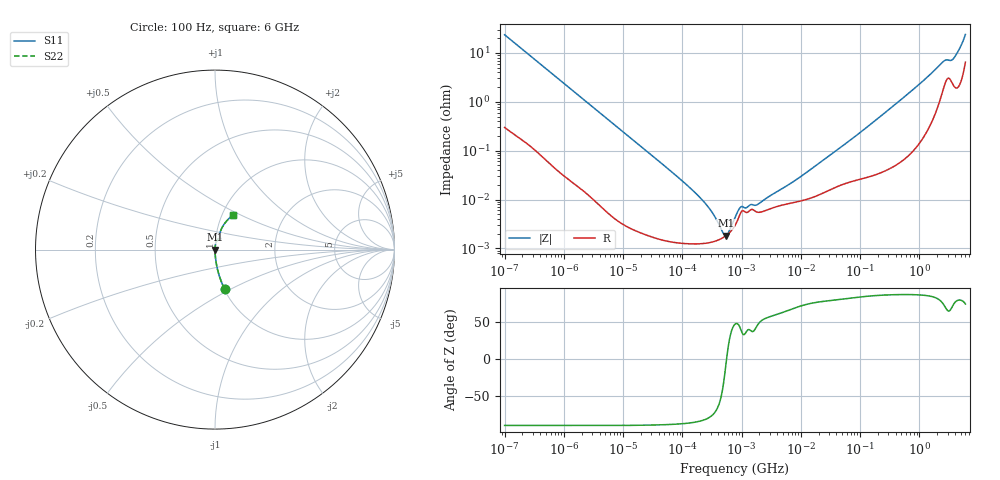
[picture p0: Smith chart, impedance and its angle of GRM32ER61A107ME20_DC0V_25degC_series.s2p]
!Murata Part Number: GRM32ER61A107ME20
!These Parameters are Measured in Series Mode Connection
!  o--ll--o
!Port1  Port2
!  o------o
!Operation Temp=25[degC], DC Bias Voltage=0[V]
!Freq. Start=100[Hz] Stop=6[GHz], 401[Steps]
!Data Generated on Jan 10, 2017
# Hz S RI R 50
!Freq.(Hz) S11(Real) S11(Imag) S21(Real) S21(Imag) S12(Real) S12(Imag) S22(Real) S22(Imag)
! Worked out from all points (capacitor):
!   401 points, 100 Hz to 6 GHz, reference 50 ohm
!   read as one part in series: C = 67.4 uF near 109.4 Hz
!   lowest |Z| = 1.83 mohm at 541.4 kHz (marker M1)
!   series resonance near 558.2 kHz, so ESL is about 1.2 nH
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100  0.0551 -0.2219  0.9449 0.2219  0.9449 0.2219  0.0551 -0.2219
187.1696  0.0174 -0.1241  0.9826 0.1241  0.9826 0.1241  0.0174 -0.1241
334.9849  0.00601 -0.0706  0.994 0.0706  0.994 0.0706  0.00601 -0.0706
2008.354  0.000304 -0.012  0.9997 0.012  0.9997 0.012  0.000304 -0.012
40334.87  1.58e-05 -0.000607  1 0.000607  1 0.000607  1.58e-05 -0.000607
103284.1  1.27e-05 -0.000231  1 0.000231  1 0.000231  1.27e-05 -0.000231
211426.6  1.25e-05 -0.000101  1 0.000101  1 0.000101  1.25e-05 -0.000101
241822  1.27e-05 -8.36e-05  1 8.36e-05  1 8.36e-05  1.27e-05 -8.36e-05
541393  1.81e-05 -2.78e-06  1 2.78e-06  1 2.78e-06  1.81e-05 -2.78e-06
774596.7  2.93e-05 3.16e-05  1 -3.16e-05  1 -3.16e-05  2.93e-05 3.16e-05
2481164  5.88e-05 8.28e-05  0.9999 -8.28e-05  0.9999 -8.28e-05  5.88e-05 8.28e-05
6948629  8.47e-05 0.000202  0.9999 -0.000202  0.9999 -0.000202  8.47e-05 0.000202
1.555665e7  0.00011 0.000422  0.9999 -0.000422  0.9999 -0.000422  0.00011 0.000422
7.797396e7  0.000243 0.00184  0.9998 -0.00184  0.9998 -0.00184  0.000243 0.00184
3.124326e8  0.000473 0.00706  0.9995 -0.00706  0.9995 -0.00706  0.000473 0.00706
1.094528e9  0.00226 0.0251  0.9977 -0.0251  0.9977 -0.0251  0.00226 0.0251
2.450438e9  0.0191 0.06  0.9809 -0.06  0.9809 -0.06  0.0191 0.06
2.802721e9  0.0294 0.0632  0.9706 -0.0632  0.9706 -0.0632  0.0294 0.0632
3.352442e9  0.0312 0.0604  0.9688 -0.0604  0.9688 -0.0604  0.0312 0.0604
3.666503e9  0.0271 0.0667  0.9729 -0.0667  0.9729 -0.0667  0.0271 0.0667
4.385646e9  0.0282 0.0946  0.9718 -0.0946  0.9718 -0.0946  0.0282 0.0946
6e9  0.1027 0.1938  0.8973 -0.1938  0.8973 -0.1938  0.1027 0.1938
